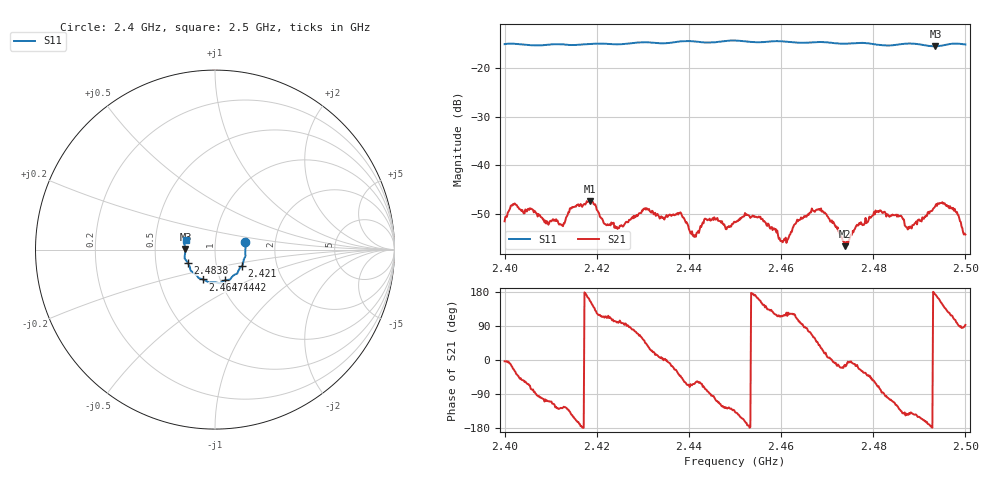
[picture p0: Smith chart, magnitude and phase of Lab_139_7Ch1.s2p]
# Hz S RI R 50
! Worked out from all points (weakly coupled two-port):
!   601 points, 2.4 GHz to 2.5 GHz, reference 50 ohm
!   highest |S21| = -47.30 dB at 2.4185 GHz (marker M1); lowest = -56.5 dB at 2.4738 GHz (marker M2)
!   lowest |S11| = -15.6 dB at 2.4935 GHz (marker M3), VSWR 1.40, Z = 35.8 + j0.189 ohm
!   |S11| at or under -10 dB: start of sweep to end of sweep
!   S12 and S22 are empty: the file has one direction only
!   S11 on the Smith chart (normalised r, x): 2.4 GHz: 1.40, +0.12; 2.421 GHz: 1.33, -0.24; 2.4442 GHz: 1.05, -0.37; 2.4647 GHz: 0.83, -0.28; 2.4838 GHz: 0.73, -0.11; 2.5 GHz: 0.71, +0.08
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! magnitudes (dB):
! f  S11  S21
! 2.4 GHz  -15.2  -51.4
! 2.4022 GHz  -15.1  -47.7
! 2.4123 GHz  -15.2  -52.1
! 2.4167 GHz  -15.3  -48.1
! 2.4185 GHz  -15.2  -47.3
! 2.421 GHz  -15.1  -50.8
! 2.4333 GHz  -15.0  -50.2
! 2.438 GHz  -14.7  -49.7
! 2.441 GHz  -14.6  -54.3
! 2.4442 GHz  -14.9  -51.1
! 2.45 GHz  -14.5  -51.6
! 2.4555 GHz  -14.8  -50.5
! 2.4603 GHz  -14.6  -55.7
! 2.4647 GHz  -14.9  -50.9
! 2.4667 GHz  -14.8  -48.8
! 2.4738 GHz  -15.1  -56.5
! 2.4833 GHz  -15.5  -50.3
! 2.4838 GHz  -15.5  -50.2
! 2.4878 GHz  -15.1  -52.8
! 2.4935 GHz  -15.6  -48.2
! 2.4977 GHz  -15.1  -48.9
! 2.5 GHz  -15.3  -54.1
